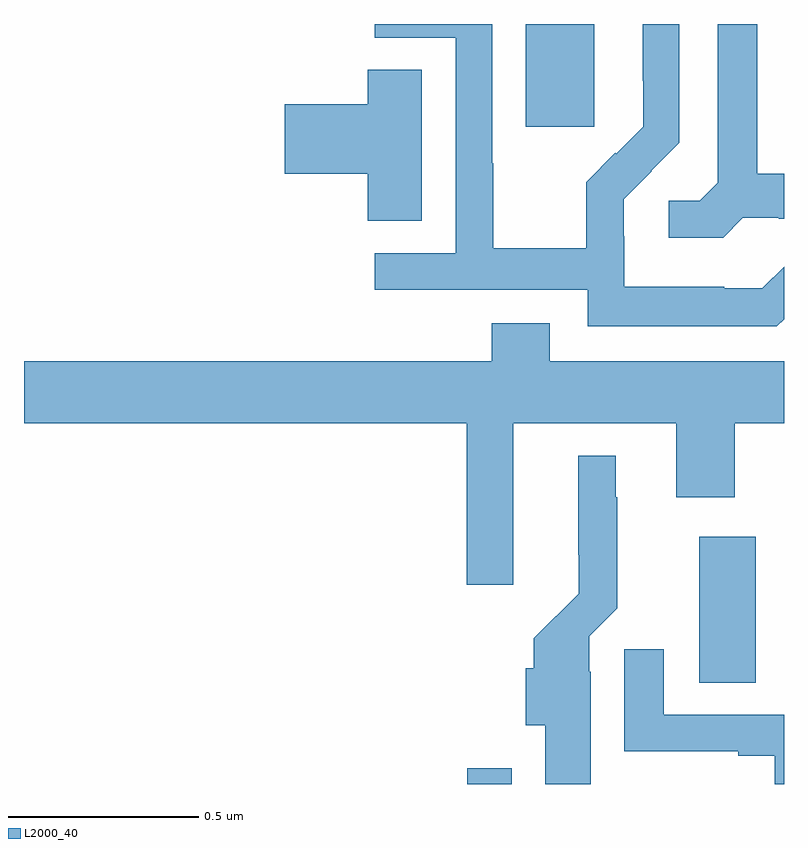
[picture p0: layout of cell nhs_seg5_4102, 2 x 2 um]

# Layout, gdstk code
import gdstk
lib = gdstk.Library(unit=1e-6, precision=1e-09)
def R(c, l, rs):  # rectangles x0, y0, x1, y1
    for r in rs: c.add(gdstk.rectangle(r[:2], r[2:], *l))
def P(c, l, *ps):  # polygons
    for p in ps: c.add(gdstk.Polygon(p, *l))
L2000_40 = (2000, 40)

nhs_seg5_4102 = lib.new_cell('nhs_seg5_4102')
R(nhs_seg5_4102, L2000_40, [(167.167,867.799,167.283,867.841), (167.777,868.066,167.926,868.45), (167.321,869.529,167.5,869.799)])
P(nhs_seg5_4102, L2000_40, [(167.892,869.289),(167.986,869.289),(167.986,869.286),(168,869.286),(168,869.405),(167.929,869.405),(167.929,869.799),(167.825,869.799),(167.825,869.381),(167.778,869.334),(167.697,869.334),(167.697,869.237),(167.84,869.237)],
  [(168,869.022),(168,869.16),(167.943,869.103),(167.843,869.103),(167.843,869.107),(167.58,869.107),(167.58,869.241),(167.578,869.241),(167.578,869.338),(167.652,869.412),(167.651,869.413),(167.724,869.486),(167.724,869.799),(167.628,869.799),(167.628,869.65),(167.63,869.65),(167.63,869.528),(167.559,869.457),(167.556,869.46),(167.479,869.383),(167.479,869.209),(167.235,869.209),(167.235,869.432),(167.232,869.432),(167.232,869.799),(166.923,869.799),(166.923,869.763),(167.136,869.763),(167.136,869.196),(166.923,869.196),(166.923,869.1),(167.484,869.1),(167.484,869.003),(167.981,869.003)],
  [(167.047,869.678),(166.904,869.678),(166.904,869.588),(166.686,869.588),(166.686,869.405),(166.904,869.405),(166.904,869.281),(167.047,869.281)],
  [(167.287,868.748),(167.717,868.748),(167.717,868.554),(167.87,868.554),(167.87,868.748),(168,868.748),(168,868.912),(167.383,868.912),(167.383,869.011),(167.231,869.011),(167.231,868.912),(166,868.912),(166,868.748),(167.165,868.748),(167.165,868.323),(167.287,868.323)],
  [(167.491,868.094),(167.487,868.094),(167.487,868.188),(167.561,868.262),(167.561,868.553),(167.557,868.553),(167.557,868.663),(167.459,868.663),(167.459,868.402),(167.46,868.402),(167.46,868.3),(167.342,868.182),(167.342,868.103),(167.321,868.103),(167.321,867.954),(167.372,867.954),(167.372,867.799),(167.491,867.799)],
  [(168,867.981),(167.683,867.981),(167.683,868.153),(167.579,868.153),(167.579,867.885),(167.879,867.885),(167.879,867.873),(167.975,867.873),(167.975,867.799),(168,867.799)])

lib.write_gds('nhs_seg5_4102.gds')
